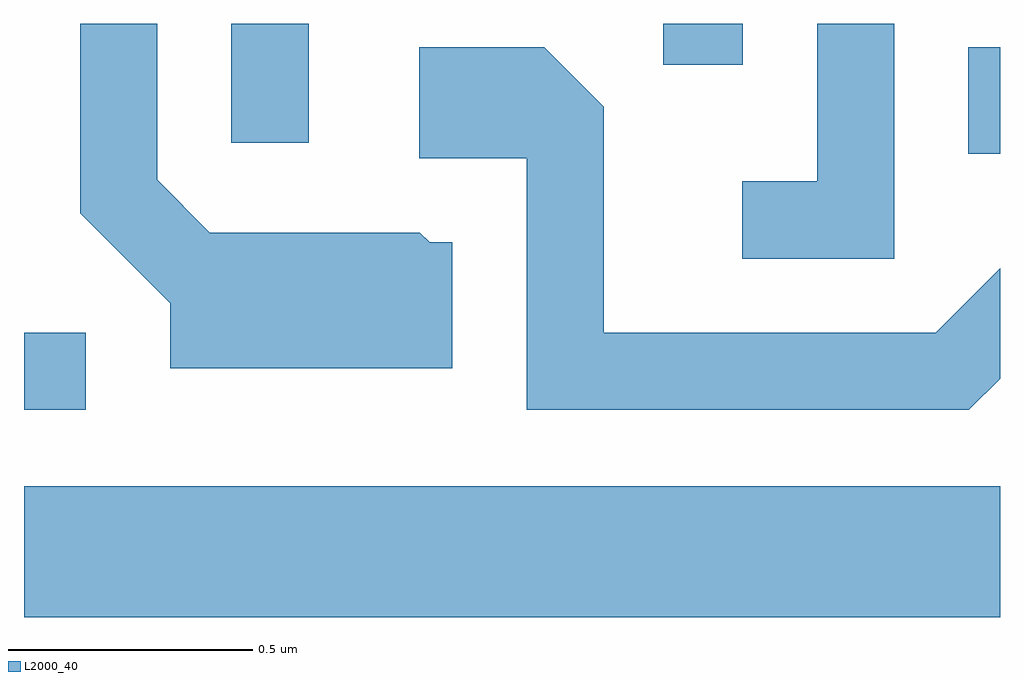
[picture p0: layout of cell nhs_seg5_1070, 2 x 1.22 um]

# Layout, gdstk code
import gdstk
lib = gdstk.Library(unit=1e-6, precision=1e-09)
def R(c, l, rs):  # rectangles x0, y0, x1, y1
    for r in rs: c.add(gdstk.rectangle(r[:2], r[2:], *l))
def P(c, l, *ps):  # polygons
    for p in ps: c.add(gdstk.Polygon(p, *l))
L2000_40 = (2000, 40)

nhs_seg5_1070 = lib.new_cell('nhs_seg5_1070')
R(nhs_seg5_1070, L2000_40, [(192.611,1507.856,194.611,1508.124), (192.611,1508.281,192.738,1508.439), (194.546,1508.806,194.611,1509.024), (193.036,1508.828,193.194,1509.072), (193.921,1508.988,194.084,1509.072)])
P(nhs_seg5_1070, L2000_40, [(194.394,1509.072),(194.236,1509.072),(194.236,1508.749),(194.083,1508.749),(194.083,1508.591),(194.394,1508.591)],
  [(193.489,1508.624),(193.442,1508.624),(193.422,1508.644),(192.992,1508.644),(192.884,1508.752),(192.884,1509.072),(192.726,1509.072),(192.726,1508.684),(192.911,1508.499),(192.911,1508.366),(193.489,1508.366)],
  [(194.611,1508.345),(194.611,1508.571),(194.479,1508.439),(193.799,1508.439),(193.799,1508.902),(193.677,1509.024),(193.421,1509.024),(193.421,1508.796),(193.641,1508.796),(193.641,1508.281),(194.547,1508.281)])

lib.write_gds('nhs_seg5_1070.gds')
